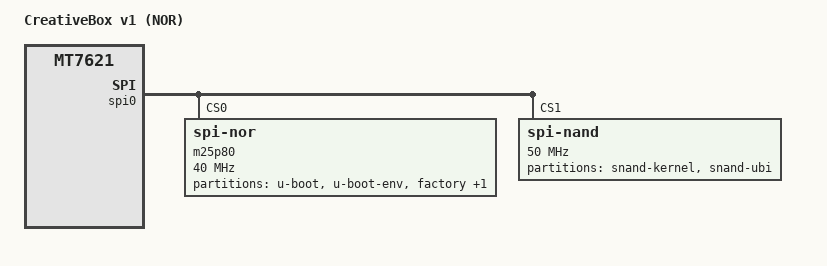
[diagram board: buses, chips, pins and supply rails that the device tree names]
/dts-v1/;

#include "CreativeBox-v1.dtsi"

/ {
	compatible = "xzwifi,creativebox-v1-nor", "mediatek,mt7621-soc";
	model = "CreativeBox v1 (NOR)";
};

&spi0 {
	status = "okay";

	m25p80@0 {
		compatible = "jedec,spi-nor";
		reg = <0>;
		spi-max-frequency = <40000000>;

		partitions {
			compatible = "fixed-partitions";
			#address-cells = <1>;
			#size-cells = <1>;

			partition@0 {
				label = "u-boot";
				reg = <0x0 0x30000>;
				read-only;
			};

			partition@30000 {
				label = "u-boot-env";
				reg = <0x30000 0x10000>;
				read-only;
			};

			factory: partition@40000 {
				label = "factory";
				reg = <0x40000 0x10000>;
				read-only;
			};

			partition@50000 {
				compatible = "denx,uimage";
				label = "firmware";
				reg = <0x50000 0x1fb0000>;
			};
		};
	};

	spi-nand@1 {
		compatible = "spi-nand";
		reg = <1>;
		spi-max-frequency = <50000000>;

		partitions {
			compatible = "fixed-partitions";
			#address-cells = <1>;
			#size-cells = <1>;

			partition@0 {
				label = "snand-kernel";
				reg = <0x0 0x300000>;
			};

			partition@300000 {
				label = "snand-ubi";
				reg = <0x300000 0xfd00000>;
			};
		};
	};
};
